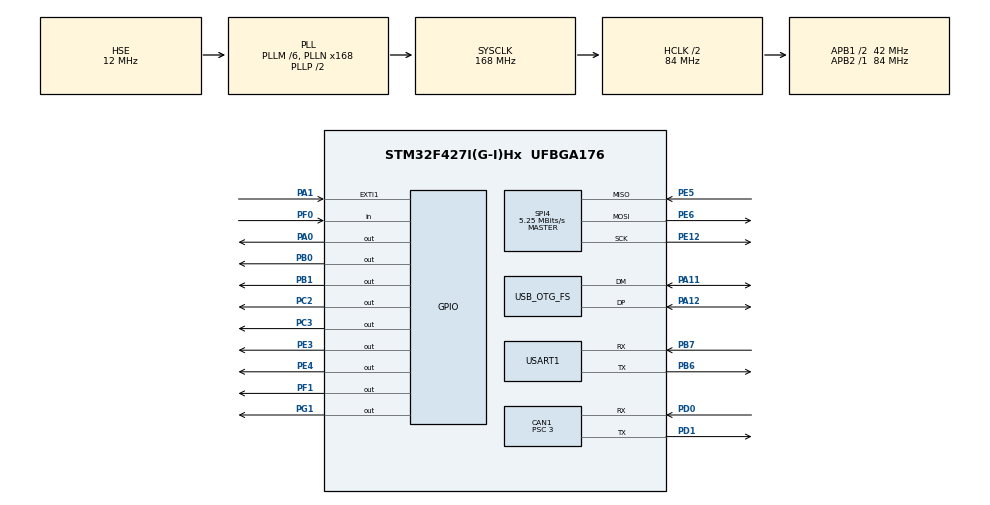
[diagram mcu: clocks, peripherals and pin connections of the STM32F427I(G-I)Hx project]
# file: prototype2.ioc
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CAN1.BS1=CAN_BS1_9TQ
CAN1.BS2=CAN_BS2_4TQ
CAN1.CalculateBaudRate=1000000
CAN1.CalculateTimeBit=1000
CAN1.CalculateTimeQuantum=71.42857142857143
CAN1.Prescaler=3
Dma.Request0=USART1_RX
Dma.Request1=SPI4_TX
Dma.SPI4_TX.1.Direction=DMA_MEMORY_TO_PERIPH
Dma.SPI4_TX.1.FIFOMode=DMA_FIFOMODE_DISABLE
Dma.SPI4_TX.1.Instance=DMA2_Stream1
Dma.SPI4_TX.1.MemDataAlignment=DMA_MDATAALIGN_BYTE
Dma.SPI4_TX.1.MemInc=DMA_MINC_ENABLE
Dma.SPI4_TX.1.Mode=DMA_NORMAL
Dma.SPI4_TX.1.PeriphDataAlignment=DMA_PDATAALIGN_BYTE
Dma.SPI4_TX.1.PeriphInc=DMA_PINC_DISABLE
Dma.SPI4_TX.1.Priority=DMA_PRIORITY_LOW
Dma.USART1_RX.0.Direction=DMA_PERIPH_TO_MEMORY
Dma.USART1_RX.0.FIFOMode=DMA_FIFOMODE_DISABLE
Dma.USART1_RX.0.Instance=DMA2_Stream2
Dma.USART1_RX.0.MemDataAlignment=DMA_MDATAALIGN_BYTE
Dma.USART1_RX.0.MemInc=DMA_MINC_ENABLE
Dma.USART1_RX.0.Mode=DMA_CIRCULAR
Dma.USART1_RX.0.PeriphDataAlignment=DMA_PDATAALIGN_BYTE
Dma.USART1_RX.0.PeriphInc=DMA_PINC_DISABLE
Dma.USART1_RX.0.Priority=DMA_PRIORITY_LOW
FREERTOS.Mutexes01=myMutex_lock_status,Dynamic,NULL
FREERTOS.Queues01=myQueue_screen,16,queueLcd,0,Dynamic,NULL,NULL;myQueue_lock_loading,16,uint16_t,0,Dynamic,NULL,NULL;myQueue_weight_loading,16,uint16_t,0,Dynamic,NULL,NULL;myQueue_loading_motor,16,uint16_t,0,Dynamic,NULL,NULL
FREERTOS.Tasks01=defaultTask,24,1028,StartDefaultTask,Default,NULL,Dynamic,NULL,NULL;Readweight,24,1028,StartTask02,Default,NULL,Dynamic,NULL,NULL;controlLock,24,128,StartTask03,Default,NULL,Dynamic,NULL,NULL;loadingTask,24,1024,StartTask04,Default,NULL,Dynamic,NULL,NULL;motorTask,24,128,StartTask05,Default,NULL,Dynamic,NULL,NULL
FREERTOS.configUSE_NEWLIB_REENTRANT=1
Mcu.Family=STM32F4
Mcu.Name=STM32F427I(G-I)Hx
Mcu.Package=UFBGA176
NVIC.CAN1_RX0_IRQn=true\:5\:0\:false\:false\:true\:true\:true\:true\:true
NVIC.DMA2_Stream1_IRQn=true\:5\:0\:false\:false\:true\:true\:false\:true\:true
NVIC.DMA2_Stream2_IRQn=true\:5\:0\:false\:false\:true\:true\:false\:true\:true
NVIC.OTG_FS_IRQn=true\:5\:0\:false\:false\:true\:true\:true\:true\:true
NVIC.PriorityGroup=NVIC_PRIORITYGROUP_4
NVIC.TIM6_DAC_IRQn=true\:15\:0\:false\:false\:true\:false\:false\:true\:true
NVIC.TimeBase=TIM6_DAC_IRQn
NVIC.TimeBaseIP=TIM6
NVIC.USART1_IRQn=true\:5\:0\:false\:false\:true\:true\:true\:true\:true
PA0/WKUP.Signal=GPIO_Output
PA1.GPIO_ModeDefaultEXTI=GPIO_MODE_IT_FALLING
PA1.GPIO_PuPd=GPIO_PULLUP
PA1.Signal=GPXTI1
PA11.Mode=Device_Only
PA11.Signal=USB_OTG_FS_DM
PA12.Mode=Device_Only
PA12.Signal=USB_OTG_FS_DP
PA13.Mode=Serial_Wire
PA13.Signal=SYS_JTMS-SWDIO
PA14.Mode=Serial_Wire
PA14.Signal=SYS_JTCK-SWCLK
PB0.Signal=GPIO_Output
PB1.Signal=GPIO_Output
PB6.Mode=Asynchronous
PB6.Signal=USART1_TX
PB7.Mode=Asynchronous
PB7.Signal=USART1_RX
PC2.Signal=GPIO_Output
PC3.Signal=GPIO_Output
PD0.Mode=CAN_Activate
PD0.Signal=CAN1_RX
PD1.Mode=CAN_Activate
PD1.Signal=CAN1_TX
PE12.Mode=Full_Duplex_Master
PE12.Signal=SPI4_SCK
PE3.Signal=GPIO_Output
PE4.Signal=GPIO_Output
PE5.Mode=Full_Duplex_Master
PE5.Signal=SPI4_MISO
PE6.Mode=Full_Duplex_Master
PE6.Signal=SPI4_MOSI
PF0.Signal=GPIO_Input
PF1.Signal=GPIO_Output
PG1.Signal=GPIO_Output
PH0/OSC_IN.Mode=HSE-External-Oscillator
PH0/OSC_IN.Signal=RCC_OSC_IN
PH1/OSC_OUT.Mode=HSE-External-Oscillator
PH1/OSC_OUT.Signal=RCC_OSC_OUT
ProjectManager.HeapSize=0x200
ProjectManager.StackSize=0x400
ProjectManager.TargetToolchain=STM32CubeIDE
RCC.48MHZClocksFreq_Value=48000000
RCC.AHBCLKDivider=RCC_SYSCLK_DIV2
RCC.AHBFreq_Value=84000000
RCC.APB1CLKDivider=RCC_HCLK_DIV2
RCC.APB1Freq_Value=42000000
RCC.APB1TimFreq_Value=84000000
RCC.APB2Freq_Value=84000000
RCC.APB2TimFreq_Value=84000000
RCC.CortexFreq_Value=84000000
RCC.HCLKFreq_Value=84000000
RCC.HSE_VALUE=12000000
RCC.HSI_VALUE=16000000
RCC.LSE_VALUE=32768
RCC.PLLM=6
RCC.PLLN=168
RCC.PLLQ=7
RCC.SYSCLKFreq_VALUE=168000000
RCC.SYSCLKSource=RCC_SYSCLKSOURCE_PLLCLK
RCC.VCOOutputFreq_Value=336000000
SPI4.BaudRatePrescaler=SPI_BAUDRATEPRESCALER_16
SPI4.CalculateBaudRate=5.25 MBits/s
SPI4.DataSize=SPI_DATASIZE_8BIT
SPI4.Direction=SPI_DIRECTION_2LINES
SPI4.Mode=SPI_MODE_MASTER
SPI4.VirtualType=VM_MASTER
USART1.VirtualMode=VM_ASYNC
USB_DEVICE.CLASS_NAME_FS=CDC
USB_DEVICE.VirtualMode-CDC_FS=Cdc
USB_DEVICE.VirtualModeFS=Cdc_FS
USB_OTG_FS.VirtualMode=Device_Only
VP_FREERTOS_VS_CMSIS_V2.Mode=CMSIS_V2
VP_SYS_VS_tim6.Mode=TIM6
VP_USB_DEVICE_VS_USB_DEVICE_CDC_FS.Mode=CDC_FS
board=custom

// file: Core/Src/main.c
/* USER CODE BEGIN Header */
/**
  ******************************************************************************
  * @file           : main.c
  * @brief          : Main program body
  ******************************************************************************
  * @attention
  *
  * Copyright (c) 2025 STMicroelectronics.
  * All rights reserved.
  *
  * This software is licensed under terms that can be found in the LICENSE file
  * in the root directory of this software component.
  * If no LICENSE file comes with this software, it is provided AS-IS.
  *
  ******************************************************************************
  */
/* USER CODE END Header */
#include "main.h"
#include "cmsis_os.h"
#include "usb_device.h"

/* USER CODE BEGIN Includes */
#include "remote_control.h"
#include "hx711.h"
#include "./LCD_tft/z_displ_ILI9XXX.h"
#include "./LCD_tft/z_touch_XPT2046.h"
//#include "lvgl.h"
#include <stdio.h>
//#include "ui.h"
#include "usbd_cdc_if.h"
#include <string.h>
/* USER CODE END Includes */

/* USER CODE BEGIN PTD */
int16_t motor_rpm1;
/* USER CODE END PTD */

/* USER CODE BEGIN PD */
#define MY_DISP_VER_RES 320
#define MY_DISP_HOR_RES 480
/* Declare buffer for 1/10 screen size; BYTES_PER_PIXEL will be 2 for RGB565. */
//#define BYTES_PER_PIXEL (LV_COLOR_FORMAT_GET_SIZE(LV_COLOR_FORMAT_RGB888))
//#define buffer_divide 10
//static uint8_t buf1[DISPL_WIDTH * DISPL_HEIGHT / buffer_divide * BYTES_PER_PIXEL];
//static uint8_t buf2[DISPL_WIDTH * DISPL_HEIGHT / buffer_divide * BYTES_PER_PIXEL];

#define USB_LEN 128
uint8_t usbTxtBuf[USB_LEN];

#define RAW_ZERO     -246337   // raw reading with no load
#define RAW_KNOWN    -141436   // raw reading with known weight
#define WEIGHT_KNOWN 1000.0f      // known weight in grams

#define SCALE ((RAW_KNOWN - RAW_ZERO) / WEIGHT_KNOWN)

typedef struct {
    uint16_t x;
    uint16_t y;
    char text[20];
} queueLcd; // Student is now an alias for this struct type
/* USER CODE END PD */

CAN_HandleTypeDef hcan1;

SPI_HandleTypeDef hspi4;
DMA_HandleTypeDef hdma_spi4_tx;

UART_HandleTypeDef huart1;
DMA_HandleTypeDef hdma_usart1_rx;

/* Definitions for defaultTask */
osThreadId_t defaultTaskHandle;
const osThreadAttr_t defaultTask_attributes = {
  .name = "defaultTask",
  .stack_size = 1028 * 4,
  .priority = (osPriority_t) osPriorityNormal,
};
/* Definitions for Readweight */
osThreadId_t ReadweightHandle;
const osThreadAttr_t Readweight_attributes = {
  .name = "Readweight",
  .stack_size = 1028 * 4,
  .priority = (osPriority_t) osPriorityNormal,
};
/* Definitions for controlLock */
osThreadId_t controlLockHandle;
const osThreadAttr_t controlLock_attributes = {
  .name = "controlLock",
  .stack_size = 128 * 4,
  .priority = (osPriority_t) osPriorityNormal,
};
/* Definitions for loadingTask */
osThreadId_t loadingTaskHandle;
const osThreadAttr_t loadingTask_attributes = {
  .name = "loadingTask",
  .stack_size = 1024 * 4,
  .priority = (osPriority_t) osPriorityNormal,
};
/* Definitions for motorTask */
osThreadId_t motorTaskHandle;
const osThreadAttr_t motorTask_attributes = {
  .name = "motorTask",
  .stack_size = 128 * 4,
  .priority = (osPriority_t) osPriorityNormal,
};
/* Definitions for myQueue_screen */
osMessageQueueId_t myQueue_screenHandle;
const osMessageQueueAttr_t myQueue_screen_attributes = {
  .name = "myQueue_screen"
};
/* Definitions for myQueue_lock_loading */
osMessageQueueId_t myQueue_lock_loadingHandle;
const osMessageQueueAttr_t myQueue_lock_loading_attributes = {
  .name = "myQueue_lock_loading"
};
/* Definitions for myQueue_weight_loading */
osMessageQueueId_t myQueue_weight_loadingHandle;
const osMessageQueueAttr_t myQueue_weight_loading_attributes = {
  .name = "myQueue_weight_loading"
};
/* Definitions for myQueue_loading_motor */
osMessageQueueId_t myQueue_loading_motorHandle;
const osMessageQueueAttr_t myQueue_loading_motor_attributes = {
  .name = "myQueue_loading_motor"
};
/* USER CODE BEGIN PV */

//static uint32_t ui_stack[4096];        // 4096 words = 16 KB
//static StaticTask_t ui_tcb;
//
//static const osThreadAttr_t ui_attr = {
//  .name       = "ui",
//  .stack_mem  = ui_stack,
//  .stack_size = sizeof(ui_stack),      // BYTES
//  .cb_mem     = &ui_tcb,
//  .cb_size    = sizeof(ui_tcb),
//  .priority   = osPriorityNormal,
//};
RC_ctrl_t rc_ctrl;
HX711 hx;
float weight;
int32_t value;
extern int16_t _width;       								///< (oriented) display width
extern int16_t _height;
int32_t count = 450;
char buf_txt[32];

GPIO_PinState unlock;
int16_t solenoid_lock = 0;
//lv_display_t * display1;
//uint8_t Displ_SpiAvailable;
/* USER CODE END PV */

void SystemClock_Config(void);
static void MX_GPIO_Init(void);
static void MX_DMA_Init(void);
static void MX_CAN1_Init(void);
static void MX_USART1_UART_Init(void);
static void MX_SPI4_Init(void);
void StartDefaultTask(void *argument);
void StartTask02(void *argument);
void StartTask03(void *argument);
void StartTask04(void *argument);
void StartTask05(void *argument);

/* USER CODE BEGIN 0 */
void setup_can(){
 CAN_FilterTypeDef can_filter_st = {0};
 can_filter_st.FilterActivation = ENABLE;
 can_filter_st.FilterMode = CAN_FILTERMODE_IDMASK;
 can_filter_st.FilterScale = CAN_FILTERSCALE_32BIT;
 can_filter_st.FilterIdHigh = 0;
 can_filter_st.FilterIdLow = 0;
 can_filter_st.FilterMaskIdHigh = 0;
 can_filter_st.FilterMaskIdLow = 0;
 can_filter_st.FilterBank=0;
 can_filter_st.FilterFIFOAssignment = CAN_RX_FIFO0;
 HAL_CAN_ConfigFilter(&hcan1, &can_filter_st);
 HAL_CAN_Start(&hcan1);
 HAL_CAN_ActivateNotification(&hcan1,CAN_IT_RX_FIFO0_MSG_PENDING | CAN_IT_RX_FIFO0_FULL| CAN_IT_RX_FIFO0_OVERRUN);
}

void HAL_CAN_RxFifo0MsgPendingCallback(CAN_HandleTypeDef *hcan){
CAN_RxHeaderTypeDef rx_header;
uint8_t rx_buffer[8];
HAL_CAN_DeactivateNotification(hcan,
  CAN_IT_RX_FIFO0_MSG_PENDING | CAN_IT_RX_FIFO0_FULL| CAN_IT_RX_FIFO0_OVERRUN);
HAL_CAN_GetRxMessage(hcan, CAN_RX_FIFO0, &rx_header, rx_buffer);

if (rx_header.StdId == 0x203)
{
	motor_rpm1 = (rx_buffer[2] << 8) + rx_buffer[3];
}

HAL_CAN_ActivateNotification(hcan,
  CAN_IT_RX_FIFO0_MSG_PENDING | CAN_IT_RX_FIFO0_FULL| CAN_IT_RX_FIFO0_OVERRUN);
}

void ctrl_motor(int16_t torque1){
 uint8_t tx_msg[8];
 CAN_TxHeaderTypeDef CAN_tx_message;
 uint32_t send_mail_box;
 CAN_tx_message.IDE = CAN_ID_STD;
 CAN_tx_message.RTR = CAN_RTR_DATA;
 CAN_tx_message.DLC = 0x08;
 CAN_tx_message.StdId = 0x200;
 tx_msg[4] = torque1>>8;
 tx_msg[5] = torque1;
 HAL_CAN_AddTxMessage(&hcan1, &CAN_tx_message, tx_msg, &send_mail_box);
}

#define KP 10
#define KI 0.1
#define KD 0
#define INT_MAX 5000
int16_t pid_lol(int16_t setpt, int16_t curr_pt){
	static float integral;
	static float prev_error;
	float error = setpt - curr_pt;
	integral += error * KI;
	integral = (integral > INT_MAX) ? INT_MAX : (integral < -INT_MAX) ? -INT_MAX : integral;
	float diff = (prev_error - error) * KD;
	prev_error = error;
	return (error * KP) + integral + diff;

}

#define SPEED rc_ctrl.rc.ch[0]

void HAL_GPIO_EXTI_Callback(uint16_t GPIO_Pin) {

	if (GPIO_Pin == GPIO_PIN_1) {
		solenoid_lock = true;
	}
//	if (GPIO_Pin==TOUCH_INT_Pin){
////			HAL_NVIC_DisableIRQ(EXTI0_IRQn);
//			Touch_HandlePenDownInterrupt();
////			HAL_NVIC_EnableIRQ(EXTI0_IRQn);
//		}
}

void tft_set_addr_window(uint16_t x0,uint16_t y0,uint16_t x1,uint16_t y1)
{
    uint8_t caset[4] = { x0>>8, x0&0xFF, x1>>8, x1&0xFF };
    uint8_t raset[4] = { y0>>8, y0&0xFF, y1>>8, y1&0xFF };

    Displ_WriteCommand(0x2A);
    Displ_WriteData(caset,4,0);

    Displ_WriteCommand(0x2B);
    Displ_WriteData(raset,4,0);

    Displ_WriteCommand(0x2C); // RAMWR
}

void tft_put_pixel(uint16_t x,uint16_t y,uint16_t color)
{
    tft_set_addr_window(x,y,x,y);
    uint8_t px[2] = {color>>8, color&0xFF};
    Displ_WriteData(px, 2, 1);
}

//void my_flush_cb(lv_display_t * display, const lv_area_t * area, uint8_t * px_map)
//{
//    /* The most simple case (also the slowest) to send all rendered pixels to the
//     * screen one-by-one.  `put_px` is just an example.  It needs to be implemented by you. */
//	Displ_SetAddressWindow(area->x1,area->y1, area->x2, area->y2);
//	Displ_WriteData(px_map,DISPL_WIDTH * DISPL_HEIGHT / 10 * BYTES_PER_PIXEL ,0);
//    /* IMPORTANT!!!
//     * Inform LVGL that flushing is complete so buffer can be modified again. */
////    lv_display_flush_ready(display);
////	if (lv_display_flush_is_last(display)) {
////	        // This was the last chunk of the frame, so inform LVGL the rendering is complete
////	        lv_display_flush_ready(display);
////	    }
//}

//int32_t get_var_counter(){
//	return count;
//}

//void set_var_counter(int32_t value){
//	count = value;
//}

//lv_obj_t *label;
//
//void ui_init1(void) {
//    label = lv_label_create(lv_screen_active());
//    lv_obj_center(label);
//}

uint8_t usbTxBuf[USB_LEN];
uint8_t usbRxBuf[USB_LEN];

uint16_t usbTxBufLen = 0;
uint16_t usbRxBufLen = 0;

uint8_t  usbRxFlag 	 = 0;

//void my_log_cb(lv_log_level_t level, const char *msg)
//{
//    static uint8_t line[USB_LEN];
//    size_t n = strlen(msg);
//    if (n > USB_LEN - 3) n = USB_LEN - 3;
//    memcpy(line, msg, n);
//    line[n++] = '\r';
//    line[n++] = '\n';
//    line[n] = '\0';
//    CDC_Transmit_FS(line, (uint16_t)n);
//}

/* USER CODE END 0 */

int main(void)
{

  /* MCU Configuration--------------------------------------------------------*/

  /* Reset of all peripherals, Initializes the Flash interface and the Systick. */
  HAL_Init();

  /* Configure the system clock */
  SystemClock_Config();

  /* Initialize all configured peripherals */
  MX_GPIO_Init();
  MX_DMA_Init();
  MX_CAN1_Init();
  MX_USART1_UART_Init();
  MX_SPI4_Init();
  /* USER CODE BEGIN 2 */
  MX_USB_DEVICE_Init();

  HAL_GPIO_WritePin(GPIOE, GPIO_PIN_4, GPIO_PIN_SET);
  HAL_GPIO_WritePin(GPIOB, GPIO_PIN_1, GPIO_PIN_SET);
  setup_can();
  remote_control_init();
  hx711_init(&hx, GPIOF, GPIO_PIN_0, GPIOF, GPIO_PIN_1,HX711_GAIN_128);
  hx711_set_scale(&hx, SCALE);
  hx711_set_offset(&hx, RAW_ZERO);
  Displ_Init(Displ_Orientat_0);

//  lv_init();
//  lv_log_register_print_cb(my_log_cb);
//  lv_tick_set_cb(HAL_GetTick);
//  display1 = lv_display_create(DISPL_WIDTH, DISPL_HEIGHT);
//  /* Set display buffer for display `display1`. */
//  lv_display_set_buffers(display1, buf1, NULL, sizeof(buf1), LV_DISPLAY_RENDER_MODE_PARTIAL);
//  lv_display_set_flush_cb(display1, my_flush_cb);
//  ui_init1();
  /* USER CODE END 2 */

  /* Init scheduler */
  osKernelInitialize();

  /* Create the queue(s) */
  /* creation of myQueue_screen */
  myQueue_screenHandle = osMessageQueueNew (16, sizeof(queueLcd), &myQueue_screen_attributes);

  /* creation of myQueue_lock_loading */
  myQueue_lock_loadingHandle = osMessageQueueNew (16, sizeof(uint16_t), &myQueue_lock_loading_attributes);

  /* creation of myQueue_weight_loading */
  myQueue_weight_loadingHandle = osMessageQueueNew (16, sizeof(float), &myQueue_weight_loading_attributes);

  /* creation of myQueue_loading_motor */
  myQueue_loading_motorHandle = osMessageQueueNew (16, sizeof(uint16_t), &myQueue_loading_motor_attributes);

  /* Create the thread(s) */
  /* creation of defaultTask */
  defaultTaskHandle = osThreadNew(StartDefaultTask, NULL, &defaultTask_attributes);

  /* creation of Readweight */
  ReadweightHandle = osThreadNew(StartTask02, NULL, &Readweight_attributes);

  /* creation of controlLock */
  controlLockHandle = osThreadNew(StartTask03, NULL, &controlLock_attributes);

  /* creation of loadingTask */
  loadingTaskHandle = osThreadNew(StartTask04, NULL, &loadingTask_attributes);

  /* creation of motorTask */
  motorTaskHandle = osThreadNew(StartTask05, NULL, &motorTask_attributes);

  /* Start scheduler */
  osKernelStart();

  /* We should never get here as control is now taken by the scheduler */
  /* Infinite loop */
  while (1)
  {

  }
}

void SystemClock_Config(void)
{
  RCC_OscInitTypeDef RCC_OscInitStruct = {0};
  RCC_ClkInitTypeDef RCC_ClkInitStruct = {0};

  /** Configure the main internal regulator output voltage
  */
  __HAL_RCC_PWR_CLK_ENABLE();
  __HAL_PWR_VOLTAGESCALING_CONFIG(PWR_REGULATOR_VOLTAGE_SCALE3);

  /** Initializes the RCC Oscillators according to the specified parameters
  * in the RCC_OscInitTypeDef structure.
  */
  RCC_OscInitStruct.OscillatorType = RCC_OSCILLATORTYPE_HSE;
  RCC_OscInitStruct.HSEState = RCC_HSE_ON;
  RCC_OscInitStruct.PLL.PLLState = RCC_PLL_ON;
  RCC_OscInitStruct.PLL.PLLSource = RCC_PLLSOURCE_HSE;
  RCC_OscInitStruct.PLL.PLLM = 6;
  RCC_OscInitStruct.PLL.PLLN = 168;
  RCC_OscInitStruct.PLL.PLLP = RCC_PLLP_DIV2;
  RCC_OscInitStruct.PLL.PLLQ = 7;
  if (HAL_RCC_OscConfig(&RCC_OscInitStruct) != HAL_OK)
  {
    Error_Handler();
  }

  /** Initializes the CPU, AHB and APB buses clocks
  */
  RCC_ClkInitStruct.ClockType = RCC_CLOCKTYPE_HCLK|RCC_CLOCKTYPE_SYSCLK
                              |RCC_CLOCKTYPE_PCLK1|RCC_CLOCKTYPE_PCLK2;
  RCC_ClkInitStruct.SYSCLKSource = RCC_SYSCLKSOURCE_PLLCLK;
  RCC_ClkInitStruct.AHBCLKDivider = RCC_SYSCLK_DIV2;
  RCC_ClkInitStruct.APB1CLKDivider = RCC_HCLK_DIV2;
  RCC_ClkInitStruct.APB2CLKDivider = RCC_HCLK_DIV1;

  if (HAL_RCC_ClockConfig(&RCC_ClkInitStruct, FLASH_LATENCY_2) != HAL_OK)
  {
    Error_Handler();
  }
}

static void MX_CAN1_Init(void)
{

  hcan1.Instance = CAN1;
  hcan1.Init.Prescaler = 3;
  hcan1.Init.Mode = CAN_MODE_NORMAL;
  hcan1.Init.SyncJumpWidth = CAN_SJW_1TQ;
  hcan1.Init.TimeSeg1 = CAN_BS1_9TQ;
  hcan1.Init.TimeSeg2 = CAN_BS2_4TQ;
  hcan1.Init.TimeTriggeredMode = DISABLE;
  hcan1.Init.AutoBusOff = DISABLE;
  hcan1.Init.AutoWakeUp = DISABLE;
  hcan1.Init.AutoRetransmission = DISABLE;
  hcan1.Init.ReceiveFifoLocked = DISABLE;
  hcan1.Init.TransmitFifoPriority = DISABLE;
  if (HAL_CAN_Init(&hcan1) != HAL_OK)
  {
    Error_Handler();
  }

}

static void MX_SPI4_Init(void)
{

  /* SPI4 parameter configuration*/
  hspi4.Instance = SPI4;
  hspi4.Init.Mode = SPI_MODE_MASTER;
  hspi4.Init.Direction = SPI_DIRECTION_2LINES;
  hspi4.Init.DataSize = SPI_DATASIZE_8BIT;
  hspi4.Init.CLKPolarity = SPI_POLARITY_LOW;
  hspi4.Init.CLKPhase = SPI_PHASE_1EDGE;
  hspi4.Init.NSS = SPI_NSS_SOFT;
  hspi4.Init.BaudRatePrescaler = SPI_BAUDRATEPRESCALER_16;
  hspi4.Init.FirstBit = SPI_FIRSTBIT_MSB;
  hspi4.Init.TIMode = SPI_TIMODE_DISABLE;
  hspi4.Init.CRCCalculation = SPI_CRCCALCULATION_DISABLE;
  hspi4.Init.CRCPolynomial = 10;
  if (HAL_SPI_Init(&hspi4) != HAL_OK)
  {
    Error_Handler();
  }

}

static void MX_USART1_UART_Init(void)
{

  huart1.Instance = USART1;
  huart1.Init.BaudRate = 115200;
  huart1.Init.WordLength = UART_WORDLENGTH_8B;
  huart1.Init.StopBits = UART_STOPBITS_1;
  huart1.Init.Parity = UART_PARITY_NONE;
  huart1.Init.Mode = UART_MODE_TX_RX;
  huart1.Init.HwFlowCtl = UART_HWCONTROL_NONE;
  huart1.Init.OverSampling = UART_OVERSAMPLING_16;
  if (HAL_UART_Init(&huart1) != HAL_OK)
  {
    Error_Handler();
  }

}

static void MX_DMA_Init(void)
{

  /* DMA controller clock enable */
  __HAL_RCC_DMA2_CLK_ENABLE();

  /* DMA interrupt init */
  /* DMA2_Stream1_IRQn interrupt configuration */
  HAL_NVIC_SetPriority(DMA2_Stream1_IRQn, 5, 0);
  HAL_NVIC_EnableIRQ(DMA2_Stream1_IRQn);
  /* DMA2_Stream2_IRQn interrupt configuration */
  HAL_NVIC_SetPriority(DMA2_Stream2_IRQn, 5, 0);
  HAL_NVIC_EnableIRQ(DMA2_Stream2_IRQn);

}

static void MX_GPIO_Init(void)
{
  GPIO_InitTypeDef GPIO_InitStruct = {0};

  /* GPIO Ports Clock Enable */
  __HAL_RCC_GPIOE_CLK_ENABLE();
  __HAL_RCC_GPIOA_CLK_ENABLE();
  __HAL_RCC_GPIOB_CLK_ENABLE();
  __HAL_RCC_GPIOD_CLK_ENABLE();
  __HAL_RCC_GPIOF_CLK_ENABLE();
  __HAL_RCC_GPIOH_CLK_ENABLE();
  __HAL_RCC_GPIOC_CLK_ENABLE();
  __HAL_RCC_GPIOG_CLK_ENABLE();

  /*Configure GPIO pin Output Level */
  HAL_GPIO_WritePin(GPIOE, GPIO_PIN_3|GPIO_PIN_4, GPIO_PIN_RESET);

  /*Configure GPIO pin Output Level */
  HAL_GPIO_WritePin(GPIOF, GPIO_PIN_1, GPIO_PIN_RESET);

  /*Configure GPIO pin Output Level */
  HAL_GPIO_WritePin(GPIOC, GPIO_PIN_2|GPIO_PIN_3, GPIO_PIN_RESET);

  /*Configure GPIO pin Output Level */
  HAL_GPIO_WritePin(GPIOG, GPIO_PIN_1, GPIO_PIN_RESET);

  /*Configure GPIO pin Output Level */
  HAL_GPIO_WritePin(GPIOA, GPIO_PIN_0, GPIO_PIN_RESET);

  /*Configure GPIO pin Output Level */
  HAL_GPIO_WritePin(GPIOB, GPIO_PIN_1|GPIO_PIN_0, GPIO_PIN_RESET);

  /*Configure GPIO pins : PE3 PE4 */
  GPIO_InitStruct.Pin = GPIO_PIN_3|GPIO_PIN_4;
  GPIO_InitStruct.Mode = GPIO_MODE_OUTPUT_PP;
  GPIO_InitStruct.Pull = GPIO_NOPULL;
  GPIO_InitStruct.Speed = GPIO_SPEED_FREQ_LOW;
  HAL_GPIO_Init(GPIOE, &GPIO_InitStruct);

  /*Configure GPIO pin : PF0 */
  GPIO_InitStruct.Pin = GPIO_PIN_0;
  GPIO_InitStruct.Mode = GPIO_MODE_INPUT;
  GPIO_InitStruct.Pull = GPIO_NOPULL;
  HAL_GPIO_Init(GPIOF, &GPIO_InitStruct);

  /*Configure GPIO pin : PF1 */
  GPIO_InitStruct.Pin = GPIO_PIN_1;
  GPIO_InitStruct.Mode = GPIO_MODE_OUTPUT_PP;
  GPIO_InitStruct.Pull = GPIO_NOPULL;
  GPIO_InitStruct.Speed = GPIO_SPEED_FREQ_LOW;
  HAL_GPIO_Init(GPIOF, &GPIO_InitStruct);

  /*Configure GPIO pins : PC2 PC3 */
  GPIO_InitStruct.Pin = GPIO_PIN_2|GPIO_PIN_3;
  GPIO_InitStruct.Mode = GPIO_MODE_OUTPUT_PP;
  GPIO_InitStruct.Pull = GPIO_NOPULL;
  GPIO_InitStruct.Speed = GPIO_SPEED_FREQ_LOW;
  HAL_GPIO_Init(GPIOC, &GPIO_InitStruct);

  /*Configure GPIO pin : PG1 */
  GPIO_InitStruct.Pin = GPIO_PIN_1;
  GPIO_InitStruct.Mode = GPIO_MODE_OUTPUT_PP;
  GPIO_InitStruct.Pull = GPIO_NOPULL;
  GPIO_InitStruct.Speed = GPIO_SPEED_FREQ_LOW;
  HAL_GPIO_Init(GPIOG, &GPIO_InitStruct);

  /*Configure GPIO pin : PA1 */
  GPIO_InitStruct.Pin = GPIO_PIN_1;
  GPIO_InitStruct.Mode = GPIO_MODE_IT_FALLING;
  GPIO_InitStruct.Pull = GPIO_PULLUP;
  HAL_GPIO_Init(GPIOA, &GPIO_InitStruct);

  /*Configure GPIO pin : PA0 */
  GPIO_InitStruct.Pin = GPIO_PIN_0;
  GPIO_InitStruct.Mode = GPIO_MODE_OUTPUT_PP;
  GPIO_InitStruct.Pull = GPIO_NOPULL;
  GPIO_InitStruct.Speed = GPIO_SPEED_FREQ_LOW;
  HAL_GPIO_Init(GPIOA, &GPIO_InitStruct);

  /*Configure GPIO pins : PB1 PB0 */
  GPIO_InitStruct.Pin = GPIO_PIN_1|GPIO_PIN_0;
  GPIO_InitStruct.Mode = GPIO_MODE_OUTPUT_PP;
  GPIO_InitStruct.Pull = GPIO_NOPULL;
  GPIO_InitStruct.Speed = GPIO_SPEED_FREQ_LOW;
  HAL_GPIO_Init(GPIOB, &GPIO_InitStruct);

}

void StartDefaultTask(void *argument)
{
  /* init code for USB_DEVICE */
  MX_USB_DEVICE_Init();
  /* USER CODE BEGIN 5 */

  queueLcd queueText;
  /* Infinite loop */
  for(;;)
  {
	  osStatus_t st = osMessageQueueGet(myQueue_screenHandle, &queueText, NULL, osWaitForever);
	  if (st == osOK) {
		  Displ_WString(queueText.x, queueText.y, queueText.text, Font12, 1, RED, WHITE); // your handler
	  }
  }
  /* USER CODE END 5 */
}

void StartTask02(void *argument)
{
  /* USER CODE BEGIN StartTask02 */
	queueLcd weightLcd;
	osStatus_t st;
  /* Infinite loop */
  for(;;)
  {
	weight =  hx711_get_units(&hx, 10);
	weightLcd.x = 150;
	weightLcd.y = 150;
	sprintf(weightLcd.text, "Weight: %.2f g", weight);
	st = osMessageQueuePut(myQueue_screenHandle, &weightLcd, 0, 0);
	st = osMessageQueuePut(myQueue_weight_loadingHandle, &weight, 0, 0);
    osDelay(10);
  }
  /* USER CODE END StartTask02 */
}

void StartTask03(void *argument)
{
  /* USER CODE BEGIN StartTask03 */
	queueLcd solenoidLcd;
	unlock = HAL_GPIO_ReadPin(GPIOA, GPIO_PIN_1);
	solenoidLcd.x = 100;
	solenoidLcd.y = 200;
	sprintf(solenoidLcd.text, "Lock status: %s", (unlock ? "unlock" : "lock"));
	osStatus_t st = osMessageQueuePut(myQueue_screenHandle, &solenoidLcd, 0, 0);
  /* Infinite loop */
  for(;;)
  {
	  GPIO_PinState curr = HAL_GPIO_ReadPin(GPIOA, GPIO_PIN_1);
	  if (unlock != curr){
		  sprintf(solenoidLcd.text, "Lock status: %s", (curr ? "unlock" : "lock  "));
		  osStatus_t st = osMessageQueuePut(myQueue_screenHandle, &solenoidLcd, 0, 0);
		  unlock = curr;
	  }

	  if (rc_ctrl.rc.s[1] == 1 && !unlock){
		  __NOP();
		  HAL_GPIO_WritePin(GPIOA, GPIO_PIN_0, 1);
		  osDelay(10);
		  HAL_GPIO_WritePin(GPIOA, GPIO_PIN_0, 0);
	  }

    osDelay(1);
  }
  /* USER CODE END StartTask03 */
}

void StartTask04(void *argument)
{
  /* USER CODE BEGIN StartTask04 */
  #define FORWARD 200;
  #define BACKWARD -200;
  float target = 1000.0f, tol = 50.0f;
  enum { SEEK_LOCK_CW, LOCKED, REVERSE_TO_WEIGHT, HOLD } state = SEEK_LOCK_CW;

  float curr_weight_buffer;
  float curr_weight;
  osStatus_t st;
  int16_t loadingMotor = 200;
  /* Infinite loop */
  for(;;)
  {
	  if (osMessageQueueGetCount(myQueue_weight_loadingHandle) > 0){
		  st = osMessageQueueGet(myQueue_weight_loadingHandle, &curr_weight_buffer, NULL, osWaitForever);
		  if (st == osOK) {
			  curr_weight = curr_weight_buffer;
		  }
	  }
	switch (state) {
	case SEEK_LOCK_CW:
		loadingMotor = FORWARD;
		if (!unlock) state = REVERSE_TO_WEIGHT;
		break;
	case REVERSE_TO_WEIGHT:
		if (curr_weight < target - tol) {
			loadingMotor = BACKWARD;
		}
		else if (curr_weight > target + tol){
			loadingMotor = FORWARD;
		}
		else {
			loadingMotor = 0;
		}
		if (unlock) state = SEEK_LOCK_CW;
		break;
	}

	st = osMessageQueuePut(myQueue_loading_motorHandle, &loadingMotor, 0, 0);
	osDelay(1);
  }
  /* USER CODE END StartTask04 */
}

void StartTask05(void *argument)
{
  /* USER CODE BEGIN StartTask05 */

  int16_t motor_buffer;
  int16_t motor;
  /* Infinite loop */
  for(;;)
  {
	  if (osMessageQueueGetCount(myQueue_loading_motorHandle) > 0){
		  osStatus_t st = osMessageQueueGet(myQueue_loading_motorHandle, &motor_buffer, NULL, osWaitForever);
		  if (st == osOK) {
			  motor = motor_buffer;
		  }
	  }
	ctrl_motor(pid_lol(motor, motor_rpm1));
    osDelay(1);
  }
  /* USER CODE END StartTask05 */
}

void HAL_TIM_PeriodElapsedCallback(TIM_HandleTypeDef *htim)
{
  if (htim->Instance == TIM6) {
    HAL_IncTick();
  }
}

void Error_Handler(void)
{
  __disable_irq();
  while (1)
  {
  }
}
